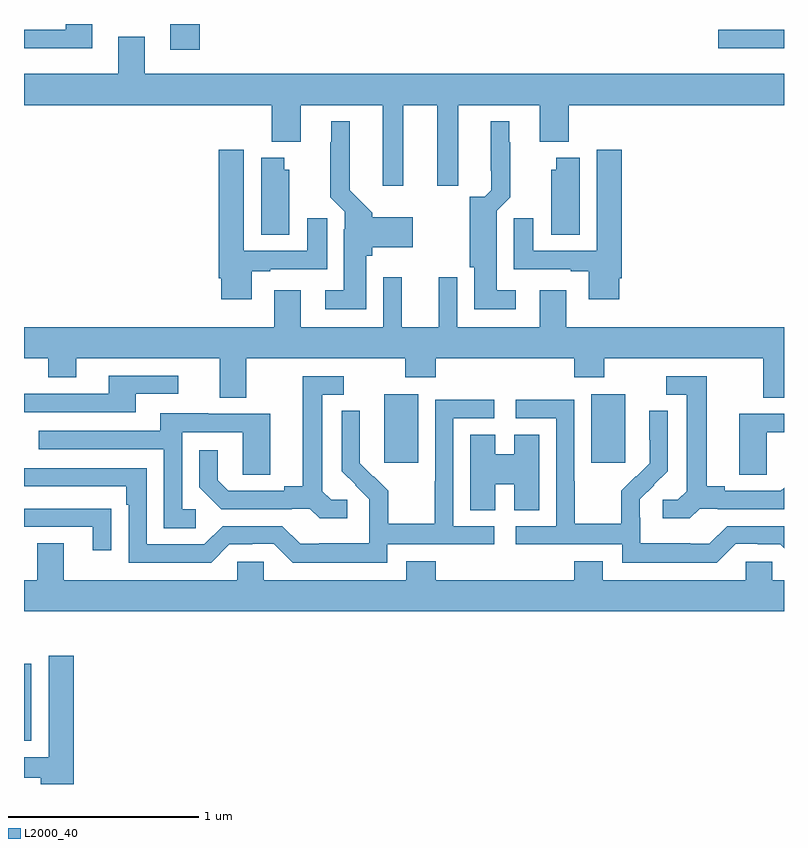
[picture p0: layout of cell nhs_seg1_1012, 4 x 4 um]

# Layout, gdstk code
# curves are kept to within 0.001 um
import gdstk
lib = gdstk.Library(unit=1e-6, precision=1e-09)
def R(c, l, rs):  # rectangles x0, y0, x1, y1
    for r in rs: c.add(gdstk.rectangle(r[:2], r[2:], *l))
def P(c, l, *ps):  # polygons
    for p in ps: c.add(gdstk.Polygon(p, *l))
L2000_40 = (2000, 40)

nhs_seg1_1012 = lib.new_cell('nhs_seg1_1012')
R(nhs_seg1_1012, L2000_40, [(167,508.426,167.038,508.831), (168.896,509.889,169.075,510.25), (169.985,509.889,170.164,510.25), (167.771,512.064,167.924,512.199), (170.655,512.072,171,512.169)])
P(nhs_seg1_1012, L2000_40, [(167.359,512.199),(167.219,512.199),(167.219,512.169),(167,512.169),(167,512.072),(167.359,512.072)],
  [(167.635,512.131),(167.495,512.131),(167.495,511.936),(167,511.936),(167,511.772),(168.305,511.772),(168.305,511.58),(168.457,511.58),(168.457,511.772),(168.887,511.772),(168.887,511.347),(168.997,511.347),(168.997,511.772),(169.175,511.772),(169.175,511.347),(169.285,511.347),(169.285,511.772),(169.715,511.772),(169.715,511.58),(169.868,511.58),(169.868,511.772),(171,511.772),(171,511.936),(167.635,511.936)],
  [(169.588,510.799),(169.489,510.799),(169.489,511.216),(169.559,511.286),(169.559,511.577),(169.555,511.577),(169.555,511.687),(169.457,511.687),(169.458,511.324),(169.424,511.29),(169.346,511.29),(169.346,510.918),(169.37,510.918),(169.37,510.698),(169.588,510.698)],
  [(168.802,510.978),(168.833,510.978),(168.833,511.025),(169.045,511.025),(169.045,511.183),(168.833,511.183),(168.833,511.206),(168.715,511.324),(168.715,511.687),(168.617,511.687),(168.617,511.577),(168.613,511.577),(168.613,511.286),(168.687,511.212),(168.687,511.118),(168.683,511.118),(168.683,510.799),(168.585,510.799),(168.585,510.698),(168.802,510.698)],
  [(168.199,510.897),(168.295,510.897),(168.295,510.909),(168.595,510.909),(168.595,511.177),(168.491,511.177),(168.491,511.005),(168.157,511.005),(168.157,511.537),(168.026,511.537),(168.026,510.862),(168.038,510.862),(168.038,510.75),(168.199,510.75)],
  [(170.134,510.862),(170.147,510.862),(170.147,511.537),(170.015,511.537),(170.015,511.005),(169.681,511.005),(169.681,511.177),(169.577,511.177),(169.577,510.909),(169.877,510.909),(169.877,510.897),(169.973,510.897),(169.973,510.75),(170.134,510.75)],
  [(169.924,511.495),(169.802,511.495),(169.802,511.431),(169.775,511.431),(169.775,511.09),(169.924,511.09)],
  [(168.397,511.431),(168.37,511.431),(168.37,511.495),(168.248,511.495),(168.248,511.09),(168.397,511.09)],
  [(168.169,510.44),(169.006,510.44),(169.006,510.341),(169.166,510.341),(169.166,510.44),(169.895,510.44),(169.895,510.341),(170.055,510.341),(170.055,510.44),(170.891,510.44),(170.891,510.232),(171,510.232),(171,510.604),(169.855,510.604),(169.855,510.799),(169.715,510.799),(169.715,510.604),(169.281,510.604),(169.281,510.865),(169.184,510.865),(169.184,510.604),(168.989,510.604),(168.989,510.865),(168.891,510.865),(168.891,510.604),(168.457,510.604),(168.457,510.799),(168.317,510.799),(168.317,510.604),(167,510.604),(167,510.44),(167.128,510.44),(167.128,510.341),(167.275,510.341),(167.275,510.44),(168.029,510.44),(168.029,510.232),(168.169,510.232)],
  [(167.587,510.252),(167.812,510.252),(167.812,510.348),(167.447,510.348),(167.447,510.252),(167,510.252),(167,510.156),(167.587,510.156)],
  [(168.7,509.694),(168.618,509.694),(168.571,509.741),(168.571,510.249),(168.682,510.249),(168.682,510.345),(168.467,510.345),(168.467,509.765),(168.371,509.765),(168.371,509.742),(168.076,509.742),(168.019,509.799),(168.019,509.956),(167.922,509.956),(167.922,509.762),(168.038,509.646),(168.41,509.646),(168.41,509.649),(168.504,509.649),(168.556,509.597),(168.7,509.597)],
  [(170.556,509.649),(170.65,509.649),(170.65,509.646),(171,509.646),(171,509.758),(170.984,509.742),(170.689,509.742),(170.689,509.765),(170.593,509.765),(170.593,510.345),(170.379,510.345),(170.379,510.249),(170.489,510.249),(170.489,509.741),(170.442,509.694),(170.361,509.694),(170.361,509.597),(170.504,509.597)],
  [(168.912,509.46),(169.474,509.46),(169.474,509.556),(169.26,509.556),(169.26,510.123),(169.474,510.123),(169.474,510.222),(169.164,510.222),(169.164,509.792),(169.162,509.792),(169.162,509.569),(168.917,509.569),(168.917,509.743),(168.84,509.82),(168.837,509.817),(168.767,509.888),(168.768,510.164),(168.672,510.164),(168.672,509.846),(168.818,509.698),(168.818,509.601),(168.816,509.601),(168.816,509.467),(168.553,509.467),(168.553,509.463),(168.453,509.463),(168.36,509.556),(168.045,509.556),(167.949,509.46),(167.646,509.46),(167.646,509.862),(167,509.862),(167,509.766),(167.537,509.766),(167.537,509.669),(167.55,509.669),(167.55,509.364),(167.985,509.364),(168.081,509.46),(168.2,509.46),(168.2,509.463),(168.315,509.463),(168.415,509.363),(168.912,509.363)],
  [(170.745,509.463),(170.861,509.463),(170.861,509.46),(170.979,509.46),(171,509.439),(171,509.556),(170.7,509.556),(170.607,509.463),(170.507,509.463),(170.507,509.467),(170.244,509.467),(170.244,509.601),(170.242,509.601),(170.242,509.698),(170.388,509.846),(170.388,510.164),(170.292,510.164),(170.292,510.01),(170.294,510.01),(170.294,509.888),(170.223,509.817),(170.22,509.82),(170.143,509.743),(170.143,509.569),(169.899,509.569),(169.899,509.792),(169.896,509.792),(169.896,510.222),(169.587,510.222),(169.587,510.123),(169.8,510.123),(169.8,509.556),(169.587,509.556),(169.587,509.46),(170.148,509.46),(170.148,509.363),(170.645,509.363)],
  [(167.905,509.646),(167.832,509.646),(167.832,510.051),(168.15,510.051),(168.15,509.827),(168.295,509.827),(168.295,510.147),(167.971,510.147),(167.971,510.151),(167.717,510.151),(167.717,510.057),(167.077,510.057),(167.077,509.961),(167.736,509.961),(167.736,509.545),(167.905,509.545)],
  [(170.91,510.051),(171,510.051),(171,510.147),(170.765,510.147),(170.765,509.827),(170.91,509.827)],
  [(169.48,509.777),(169.58,509.777),(169.58,509.641),(169.711,509.641),(169.711,510.038),(169.58,510.038),(169.58,509.935),(169.48,509.935),(169.48,510.038),(169.349,510.038),(169.349,509.641),(169.48,509.641)],
  [(167.459,509.648),(167.357,509.648),(167.357,509.649),(167,509.649),(167,509.553),(167.363,509.553),(167.363,509.43),(167.459,509.43)],
  [(171,509.272),(170.937,509.272),(170.937,509.37),(170.799,509.37),(170.799,509.272),(170.047,509.272),(170.047,509.371),(169.895,509.371),(169.895,509.272),(169.166,509.272),(169.166,509.371),(169.013,509.371),(169.013,509.272),(168.261,509.272),(168.261,509.37),(168.123,509.37),(168.123,509.272),(167.209,509.272),(167.209,509.467),(167.069,509.467),(167.069,509.272),(167,509.272),(167,509.108),(171,509.108)],
  [(167.261,508.873),(167.129,508.873),(167.129,508.341),(167,508.341),(167,508.233),(167.087,508.233),(167.087,508.199),(167.261,508.199)])

lib.write_gds('nhs_seg1_1012.gds')
